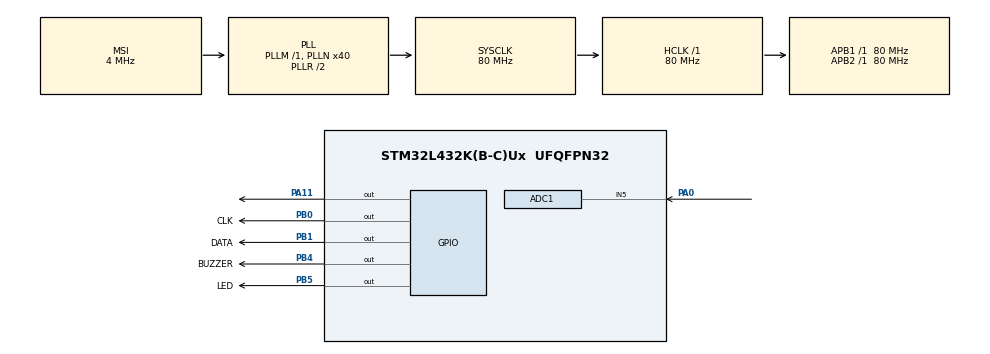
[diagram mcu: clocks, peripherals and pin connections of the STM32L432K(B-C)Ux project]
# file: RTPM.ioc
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ADC1.Channel-0\#ChannelRegularConversion=ADC_CHANNEL_5
ADC1.ClockPrescaler=ADC_CLOCK_SYNC_PCLK_DIV1
ADC1.ContinuousConvMode=ENABLE
ADC1.DMAContinuousRequests=ENABLE
ADC1.NbrOfConversionFlag=1
ADC1.OffsetNumber-0\#ChannelRegularConversion=ADC_OFFSET_NONE
ADC1.Rank-0\#ChannelRegularConversion=1
ADC1.SamplingTime-0\#ChannelRegularConversion=ADC_SAMPLETIME_2CYCLES_5
ADC1.master=1
Dma.ADC1.0.Direction=DMA_PERIPH_TO_MEMORY
Dma.ADC1.0.Instance=DMA1_Channel1
Dma.ADC1.0.MemDataAlignment=DMA_MDATAALIGN_HALFWORD
Dma.ADC1.0.MemInc=DMA_MINC_ENABLE
Dma.ADC1.0.Mode=DMA_CIRCULAR
Dma.ADC1.0.PeriphDataAlignment=DMA_PDATAALIGN_HALFWORD
Dma.ADC1.0.PeriphInc=DMA_PINC_DISABLE
Dma.ADC1.0.Priority=DMA_PRIORITY_LOW
Dma.Request0=ADC1
Mcu.Family=STM32L4
Mcu.Name=STM32L432K(B-C)Ux
Mcu.Package=UFQFPN32
NVIC.DMA1_Channel1_IRQn=true\:0\:0\:false\:false\:true\:false\:true\:true
NVIC.PriorityGroup=NVIC_PRIORITYGROUP_4
PA0.Signal=ADCx_IN5
PA11.Signal=GPIO_Output
PB0.GPIO_Label=CLK
PB0.GPIO_Speed=GPIO_SPEED_FREQ_MEDIUM
PB0.Signal=GPIO_Output
PB1.GPIO_Label=DATA
PB1.GPIO_Speed=GPIO_SPEED_FREQ_HIGH
PB1.Signal=GPIO_Output
PB4\ (NJTRST).GPIO_Label=BUZZER
PB4\ (NJTRST).Signal=GPIO_Output
PB5.GPIO_Label=LED
PB5.Signal=GPIO_Output
ProjectManager.HeapSize=0x200
ProjectManager.StackSize=0x400
ProjectManager.TargetToolchain=MDK-ARM V5.32
RCC.ADCFreq_Value=32000000
RCC.AHBFreq_Value=80000000
RCC.APB1Freq_Value=80000000
RCC.APB1TimFreq_Value=80000000
RCC.APB2Freq_Value=80000000
RCC.APB2TimFreq_Value=80000000
RCC.CortexFreq_Value=80000000
RCC.HCLKFreq_Value=80000000
RCC.HSE_VALUE=8000000
RCC.HSI16_VALUE=16000000
RCC.HSI48_VALUE=48000000
RCC.HSI_VALUE=16000000
RCC.LSE_VALUE=32768
RCC.MSI_VALUE=4000000
RCC.PLLMUL=RCC_PLLMUL_4
RCC.PLLN=40
RCC.PLLSAI1N=16
RCC.SYSCLKFreq_VALUE=80000000
RCC.SYSCLKSource=RCC_SYSCLKSOURCE_PLLCLK
RCC.USART2CLockSelection=RCC_USART2CLKSOURCE_SYSCLK
RCC.USBFreq_Value=32000000
RCC.VCOOutputFreq_Value=160000000
SH.ADCx_IN5.0=ADC1_IN5,IN5-Single-Ended
board=NUCLEO-L432KC

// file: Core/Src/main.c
/* USER CODE BEGIN Header */
/**
  ******************************************************************************
  * @file           : main.c
  * @brief          : Main program body
  ******************************************************************************
  * @attention
  *
  * Copyright (c) 2023 STMicroelectronics.
  * All rights reserved.
  *
  * This software is licensed under terms that can be found in the LICENSE file
  * in the root directory of this software component.
  * If no LICENSE file comes with this software, it is provided AS-IS.
  *
  ******************************************************************************
  */
/* USER CODE END Header */
#include "main.h"

/* USER CODE BEGIN Includes */
#include "stdio.h"
#include "string.h"
#include "TM1637.h"

/* USER CODE END Includes */

/* USER CODE BEGIN PD */
#define Buf_len 50
/* USER CODE END PD */

ADC_HandleTypeDef hadc1;
DMA_HandleTypeDef hdma_adc1;

/* USER CODE BEGIN PV */
uint16_t adc_buf[Buf_len];
uint16_t Value,start_value,present_value,alarm=0;
float pressure;int pressure_mmHg;
uint8_t start=1,Led_status;

char buf[8]={0x5A,0xA5,0x05,0x82,0x20,0x00,0x00,0x01};//0x5a 0xa5 0x05 0x82 0x20 0x00 0x00 0x03
uint8_t  Buf[9];
/* USER CODE END PV */

void SystemClock_Config(void);
static void MX_GPIO_Init(void);
static void MX_DMA_Init(void);
static void MX_ADC1_Init(void);
/* USER CODE BEGIN PFP */
void play_alarm(int num);
/* USER CODE BEGIN 0 */
/* USER CODE END PFP */

/* USER CODE BEGIN 0 */
/* USER CODE END PFP */

/* Private user code ---------------------------------------------------------*/
/* USER CODE BEGIN 0 */
/* USER CODE END PFP */

/* Private user code ---------------------------------------------------------*/
/* USER CODE BEGIN 0 */
/* USER CODE END PFP */

/* Private user code ---------------------------------------------------------*/
/* USER CODE BEGIN 0 */
/* USER CODE END PFP */

/* Private user code ---------------------------------------------------------*/

/* USER CODE END 0 */

int main(void)
{

  /* MCU Configuration--------------------------------------------------------*/

  /* Reset of all peripherals, Initializes the Flash interface and the Systick. */
  HAL_Init();

  /* Configure the system clock */
  SystemClock_Config();

  /* Initialize all configured peripherals */
  MX_GPIO_Init();
  MX_DMA_Init();
  MX_ADC1_Init();
  /* USER CODE BEGIN 2 */
	TM1637_GPIO_Init();
	CoreDebug->DEMCR |= CoreDebug_DEMCR_TRCENA_Msk;
  DWT->CTRL |= DWT_CTRL_CYCCNTENA_Msk;
	HAL_ADC_Start_DMA(&hadc1,(uint32_t*)adc_buf,Buf_len);
		HAL_GPIO_WritePin(GPIOA,GPIO_PIN_11,GPIO_PIN_SET);

  /* USER CODE END 2 */

  /* Infinite loop */
  /* USER CODE BEGIN WHILE */

  while (1)
  {

		HAL_Delay(1000);
		if(alarm==1)
		{
			play_alarm(5);
		}

		HAL_Delay(50);
    /* USER CODE END WHILE */

  }
}

void SystemClock_Config(void)
{
  RCC_OscInitTypeDef RCC_OscInitStruct = {0};
  RCC_ClkInitTypeDef RCC_ClkInitStruct = {0};

  /** Configure the main internal regulator output voltage
  */
  if (HAL_PWREx_ControlVoltageScaling(PWR_REGULATOR_VOLTAGE_SCALE1) != HAL_OK)
  {
    Error_Handler();
  }

  /** Initializes the RCC Oscillators according to the specified parameters
  * in the RCC_OscInitTypeDef structure.
  */
  RCC_OscInitStruct.OscillatorType = RCC_OSCILLATORTYPE_MSI;
  RCC_OscInitStruct.MSIState = RCC_MSI_ON;
  RCC_OscInitStruct.MSICalibrationValue = 0;
  RCC_OscInitStruct.MSIClockRange = RCC_MSIRANGE_6;
  RCC_OscInitStruct.PLL.PLLState = RCC_PLL_ON;
  RCC_OscInitStruct.PLL.PLLSource = RCC_PLLSOURCE_MSI;
  RCC_OscInitStruct.PLL.PLLM = 1;
  RCC_OscInitStruct.PLL.PLLN = 40;
  RCC_OscInitStruct.PLL.PLLP = RCC_PLLP_DIV7;
  RCC_OscInitStruct.PLL.PLLQ = RCC_PLLQ_DIV2;
  RCC_OscInitStruct.PLL.PLLR = RCC_PLLR_DIV2;
  if (HAL_RCC_OscConfig(&RCC_OscInitStruct) != HAL_OK)
  {
    Error_Handler();
  }

  /** Initializes the CPU, AHB and APB buses clocks
  */
  RCC_ClkInitStruct.ClockType = RCC_CLOCKTYPE_HCLK|RCC_CLOCKTYPE_SYSCLK
                              |RCC_CLOCKTYPE_PCLK1|RCC_CLOCKTYPE_PCLK2;
  RCC_ClkInitStruct.SYSCLKSource = RCC_SYSCLKSOURCE_PLLCLK;
  RCC_ClkInitStruct.AHBCLKDivider = RCC_SYSCLK_DIV1;
  RCC_ClkInitStruct.APB1CLKDivider = RCC_HCLK_DIV1;
  RCC_ClkInitStruct.APB2CLKDivider = RCC_HCLK_DIV1;

  if (HAL_RCC_ClockConfig(&RCC_ClkInitStruct, FLASH_LATENCY_4) != HAL_OK)
  {
    Error_Handler();
  }
}

static void MX_ADC1_Init(void)
{

  ADC_ChannelConfTypeDef sConfig = {0};

  /** Common config
  */
  hadc1.Instance = ADC1;
  hadc1.Init.ClockPrescaler = ADC_CLOCK_SYNC_PCLK_DIV1;
  hadc1.Init.Resolution = ADC_RESOLUTION_12B;
  hadc1.Init.DataAlign = ADC_DATAALIGN_RIGHT;
  hadc1.Init.ScanConvMode = ADC_SCAN_DISABLE;
  hadc1.Init.EOCSelection = ADC_EOC_SINGLE_CONV;
  hadc1.Init.LowPowerAutoWait = DISABLE;
  hadc1.Init.ContinuousConvMode = ENABLE;
  hadc1.Init.NbrOfConversion = 1;
  hadc1.Init.DiscontinuousConvMode = DISABLE;
  hadc1.Init.ExternalTrigConv = ADC_SOFTWARE_START;
  hadc1.Init.ExternalTrigConvEdge = ADC_EXTERNALTRIGCONVEDGE_NONE;
  hadc1.Init.DMAContinuousRequests = ENABLE;
  hadc1.Init.Overrun = ADC_OVR_DATA_PRESERVED;
  hadc1.Init.OversamplingMode = DISABLE;
  if (HAL_ADC_Init(&hadc1) != HAL_OK)
  {
    Error_Handler();
  }

  /** Configure Regular Channel
  */
  sConfig.Channel = ADC_CHANNEL_5;
  sConfig.Rank = ADC_REGULAR_RANK_1;
  sConfig.SamplingTime = ADC_SAMPLETIME_2CYCLES_5;
  sConfig.SingleDiff = ADC_SINGLE_ENDED;
  sConfig.OffsetNumber = ADC_OFFSET_NONE;
  sConfig.Offset = 0;
  if (HAL_ADC_ConfigChannel(&hadc1, &sConfig) != HAL_OK)
  {
    Error_Handler();
  }

}

static void MX_DMA_Init(void)
{

  /* DMA controller clock enable */
  __HAL_RCC_DMA1_CLK_ENABLE();

  /* DMA interrupt init */
  /* DMA1_Channel1_IRQn interrupt configuration */
  HAL_NVIC_SetPriority(DMA1_Channel1_IRQn, 0, 0);
  HAL_NVIC_EnableIRQ(DMA1_Channel1_IRQn);

}

static void MX_GPIO_Init(void)
{
  GPIO_InitTypeDef GPIO_InitStruct = {0};

  /* GPIO Ports Clock Enable */
  __HAL_RCC_GPIOA_CLK_ENABLE();
  __HAL_RCC_GPIOB_CLK_ENABLE();

  /*Configure GPIO pin Output Level */
  HAL_GPIO_WritePin(GPIOB, CLK_Pin|DATA_Pin|BUZZER_Pin|LED_Pin, GPIO_PIN_RESET);

  /*Configure GPIO pin Output Level */
  HAL_GPIO_WritePin(GPIOA, GPIO_PIN_11, GPIO_PIN_RESET);

  /*Configure GPIO pin : CLK_Pin */
  GPIO_InitStruct.Pin = CLK_Pin;
  GPIO_InitStruct.Mode = GPIO_MODE_OUTPUT_PP;
  GPIO_InitStruct.Pull = GPIO_NOPULL;
  GPIO_InitStruct.Speed = GPIO_SPEED_FREQ_MEDIUM;
  HAL_GPIO_Init(CLK_GPIO_Port, &GPIO_InitStruct);

  /*Configure GPIO pin : DATA_Pin */
  GPIO_InitStruct.Pin = DATA_Pin;
  GPIO_InitStruct.Mode = GPIO_MODE_OUTPUT_PP;
  GPIO_InitStruct.Pull = GPIO_NOPULL;
  GPIO_InitStruct.Speed = GPIO_SPEED_FREQ_HIGH;
  HAL_GPIO_Init(DATA_GPIO_Port, &GPIO_InitStruct);

  /*Configure GPIO pin : PA11 */
  GPIO_InitStruct.Pin = GPIO_PIN_11;
  GPIO_InitStruct.Mode = GPIO_MODE_OUTPUT_PP;
  GPIO_InitStruct.Pull = GPIO_NOPULL;
  GPIO_InitStruct.Speed = GPIO_SPEED_FREQ_LOW;
  HAL_GPIO_Init(GPIOA, &GPIO_InitStruct);

  /*Configure GPIO pins : BUZZER_Pin LED_Pin */
  GPIO_InitStruct.Pin = BUZZER_Pin|LED_Pin;
  GPIO_InitStruct.Mode = GPIO_MODE_OUTPUT_PP;
  GPIO_InitStruct.Pull = GPIO_NOPULL;
  GPIO_InitStruct.Speed = GPIO_SPEED_FREQ_LOW;
  HAL_GPIO_Init(GPIOB, &GPIO_InitStruct);

}

/* USER CODE BEGIN 4 */
void HAL_ADC_ConvCpltCallback(ADC_HandleTypeDef* hadc1)
{
	int temp=0;
	for(int i=0;i<Buf_len;i++)
	{
		temp=temp+adc_buf[i];
	}
	Value=temp/Buf_len;
	if(start==1)
	{
		start_value = Value;
		if(start_value<300 || start_value>700)
		{
			alarm=1;
		}
		start=0;
	}

	present_value = Value;
  pressure = 0.0004389*present_value - 0.2846;
	pressure_mmHg = 0.3254*present_value - 205.2;
	if(pressure_mmHg<0)
	{
		pressure_mmHg=0;
		buf[6]=0;
		buf[7]=pressure_mmHg;
		HAL_GPIO_WritePin(GPIOB,GPIO_PIN_5,GPIO_PIN_RESET);
			HAL_GPIO_WritePin(GPIOB,GPIO_PIN_4,GPIO_PIN_RESET);

		//alarm = 0;
		Led_status = 0;

	}
	else if(pressure_mmHg>255)
	{
		int temp_0=pressure_mmHg/255;
		int temp_1=pressure_mmHg%255;
		buf[6]=temp_0;
		buf[7]=temp_1;
		//alarm = 1;
		HAL_GPIO_WritePin(GPIOB,GPIO_PIN_5,GPIO_PIN_SET);
		HAL_GPIO_WritePin(GPIOB,GPIO_PIN_4,GPIO_PIN_RESET);

		Led_status = 1;
	}
	else
	{
	buf[6]=0;
	buf[7]=pressure_mmHg;
		alarm = 0;
	HAL_GPIO_WritePin(GPIOB,GPIO_PIN_5,GPIO_PIN_SET);
	HAL_GPIO_WritePin(GPIOB,GPIO_PIN_4,GPIO_PIN_RESET);

	Led_status = 1;

	}
	if (pressure_mmHg > 700)
	{
				HAL_GPIO_WritePin(GPIOB,GPIO_PIN_4,GPIO_PIN_SET);
	}
	TM1637_DisplayNumber(pressure_mmHg);
}

void play_alarm(int num)
{
	for(int i=0;i<num;i++)
			{
				HAL_GPIO_WritePin(GPIOB,GPIO_PIN_4,GPIO_PIN_SET);
				HAL_Delay(2000);
//				HAL_GPIO_WritePin(GPIOB,GPIO_PIN_4,GPIO_PIN_RESET);
//				HAL_Delay(500);
			}
			alarm = 0;
}

/* USER CODE END 4 */

void Error_Handler(void)
{
  __disable_irq();
  while (1)
  {
  }
}
